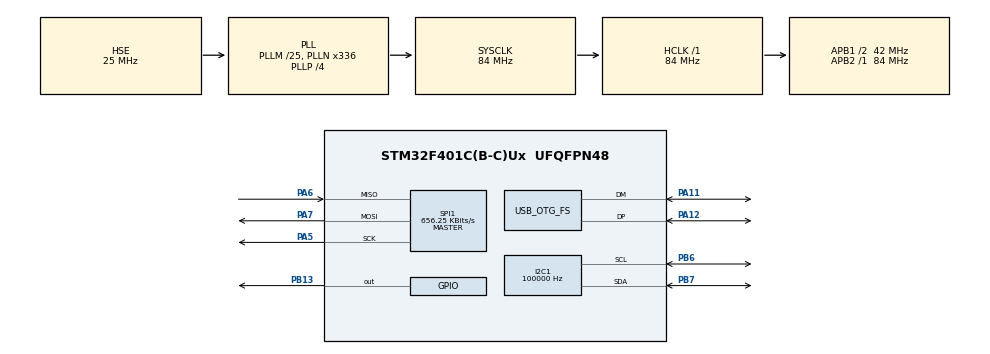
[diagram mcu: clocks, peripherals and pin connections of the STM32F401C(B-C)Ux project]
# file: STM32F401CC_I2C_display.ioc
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I2C1.ClockSpeed=100000
I2C1.I2C_Mode=I2C_Fast
Mcu.Family=STM32F4
Mcu.Name=STM32F401C(B-C)Ux
Mcu.Package=UFQFPN48
NVIC.OTG_FS_IRQn=true\:0\:0\:false\:false\:true\:false\:true\:true
NVIC.PriorityGroup=NVIC_PRIORITYGROUP_4
PA11.Mode=Device_Only
PA11.Signal=USB_OTG_FS_DM
PA12.Mode=Device_Only
PA12.Signal=USB_OTG_FS_DP
PA13.Mode=Serial_Wire
PA13.Signal=SYS_JTMS-SWDIO
PA14.Mode=Serial_Wire
PA14.Signal=SYS_JTCK-SWCLK
PA5.Mode=Full_Duplex_Master
PA5.Signal=SPI1_SCK
PA6.Mode=Full_Duplex_Master
PA6.Signal=SPI1_MISO
PA7.Mode=Full_Duplex_Master
PA7.Signal=SPI1_MOSI
PB13.PinState=GPIO_PIN_SET
PB13.Signal=GPIO_Output
PB6.Mode=I2C
PB6.Signal=I2C1_SCL
PB7.Mode=I2C
PB7.Signal=I2C1_SDA
PH0\ -\ OSC_IN.Mode=HSE-External-Oscillator
PH0\ -\ OSC_IN.Signal=RCC_OSC_IN
PH1\ -\ OSC_OUT.Mode=HSE-External-Oscillator
PH1\ -\ OSC_OUT.Signal=RCC_OSC_OUT
ProjectManager.HeapSize=0x200
ProjectManager.StackSize=0x400
ProjectManager.TargetToolchain=STM32CubeIDE
RCC.48MHZClocksFreq_Value=48000000
RCC.AHBFreq_Value=84000000
RCC.APB1CLKDivider=RCC_HCLK_DIV2
RCC.APB1Freq_Value=42000000
RCC.APB1TimFreq_Value=84000000
RCC.APB2Freq_Value=84000000
RCC.APB2TimFreq_Value=84000000
RCC.CortexFreq_Value=84000000
RCC.HCLKFreq_Value=84000000
RCC.HSE_VALUE=25000000
RCC.HSI_VALUE=16000000
RCC.LSE_VALUE=32768
RCC.PLLM=25
RCC.PLLN=336
RCC.PLLP=RCC_PLLP_DIV4
RCC.PLLQ=7
RCC.SYSCLKFreq_VALUE=84000000
RCC.SYSCLKSource=RCC_SYSCLKSOURCE_PLLCLK
RCC.VCOOutputFreq_Value=336000000
SPI1.BaudRatePrescaler=SPI_BAUDRATEPRESCALER_128
SPI1.CalculateBaudRate=656.25 KBits/s
SPI1.Direction=SPI_DIRECTION_2LINES
SPI1.Mode=SPI_MODE_MASTER
SPI1.VirtualType=VM_MASTER
USB_DEVICE.CLASS_NAME_FS=CDC
USB_DEVICE.VirtualMode=Cdc
USB_DEVICE.VirtualModeFS=Cdc_FS
USB_OTG_FS.VirtualMode=Device_Only
VP_USB_DEVICE_VS_USB_DEVICE_CDC_FS.Mode=CDC_FS
board=custom

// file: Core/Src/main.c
/* USER CODE BEGIN Header */
/**
  ******************************************************************************
  * @file           : main.c
  * @brief          : Main program body
  ******************************************************************************
  * @attention
  *
  * Copyright (c) 2026 STMicroelectronics.
  * All rights reserved.
  *
  * This software is licensed under terms that can be found in the LICENSE file
  * in the root directory of this software component.
  * If no LICENSE file comes with this software, it is provided AS-IS.
  *
  ******************************************************************************
  */
/* USER CODE END Header */
#include "main.h"
#include "usb_device.h"

/* USER CODE BEGIN Includes */
#include "fonts.h"
#include "ssd1306.h"
#include "ds1307.h"
#include <stdio.h>
#include <string.h>
#include "bme280.h"
#include "usbd_cdc_if.h"
/* USER CODE END Includes */

/* USER CODE BEGIN PTD */
typedef struct {
    DS1307_Time time;
    s32 temperature_centi_c;
    u32 pressure_pa;
    u32 humidity_q22_10;
    uint8_t rtc_valid;
    uint8_t bme_valid;
} DisplayData;

/* USER CODE END PTD */

/* USER CODE BEGIN PD */
#define RTC_POLL_MS 200U
#define BME_POLL_MS 500U
#define DISPLAY_ROWS 4U
#define DISPLAY_LINE_SIZE 24U
/* USER CODE END PD */

I2C_HandleTypeDef hi2c1;

SPI_HandleTypeDef hspi1;

void SystemClock_Config(void);
static void MX_GPIO_Init(void);
static void MX_I2C1_Init(void);
static void MX_SPI1_Init(void);
/* USER CODE BEGIN PFP */
/* Bus adapter and Bosch device instance live in bme280_support.c. */
extern struct bme280_t bme280;
extern USBD_HandleTypeDef hUsbDeviceFS;
s8 SPI_routine(void);
/* USER CODE END PFP */

/* USER CODE BEGIN 0 */
/* Keep these symbols for the unused Bosch demonstration template, too. */
uint8_t logData[200];
uint16_t logDataLen;

/* USB sends asynchronously: never hand it a stack buffer or overwrite it busy. */
uint8_t digital120_serial_send(const uint8_t *data, const uint16_t len)
{
    static uint8_t tx_buffer[sizeof logData];
    uint8_t sent = 0;
    if (data == NULL || len == 0 || len > sizeof tx_buffer) {
        return 0;
    }

    /* USB disconnect can invalidate pClassData; protect check + submission. */
    uint32_t interrupt_mask = __get_PRIMASK();
    __disable_irq();
    USBD_CDC_HandleTypeDef *cdc = hUsbDeviceFS.pClassData;
    if (hUsbDeviceFS.dev_state == USBD_STATE_CONFIGURED &&
        cdc != NULL && cdc->TxState == 0) {
        memcpy(tx_buffer, data, len);
        sent = (CDC_Transmit_FS(tx_buffer, len) == USBD_OK);
    }
    __set_PRIMASK(interrupt_mask);
    return sent;
}

static uint8_t BME280_Start(void)
{
    SPI_routine();
    if (bme280_init(&bme280) != 0 || bme280.chip_id != BME280_CHIP_ID ||
        bme280.cal_param.dig_P1 == 0) {
        return 0;
    }

    /* Configure in sleep; the final ctrl_meas write also latches humidity. */
    if (bme280_set_power_mode(BME280_SLEEP_MODE) != 0 ||
        bme280_set_oversamp_humidity(BME280_OVERSAMP_1X) != 0 ||
        bme280_set_oversamp_pressure(BME280_OVERSAMP_1X) != 0 ||
        bme280_set_oversamp_temperature(BME280_OVERSAMP_1X) != 0 ||
        bme280_set_standby_durn(BME280_STANDBY_TIME_250_MS) != 0 ||
        bme280_set_filter(BME280_FILTER_COEFF_OFF) != 0 ||
        bme280_set_power_mode(BME280_NORMAL_MODE) != 0) {
        return 0;
    }

    /* Check actual register contents rather than just SPI transfer success. */
    u8 ctrl_hum = 0, ctrl_meas = 0, config = 0;
    return bme280_read_register(BME280_CTRL_HUMIDITY_REG, &ctrl_hum, 1) == 0 &&
           bme280_read_register(BME280_CTRL_MEAS_REG, &ctrl_meas, 1) == 0 &&
           bme280_read_register(BME280_CONFIG_REG, &config, 1) == 0 &&
           (ctrl_hum & 0x07) == 0x01 && ctrl_meas == 0x27 &&
           (config & 0xFD) == 0x60;
}

static uint8_t BME280_Read(DisplayData *data)
{
    u8 chip_id = 0;
    u32 pressure, humidity;
    s32 temperature;

    /* An unplugged SPI slave may still produce HAL_OK, so check its identity. */
    if (bme280_read_register(BME280_CHIP_ID_REG, &chip_id, 1) != 0 ||
        chip_id != BME280_CHIP_ID ||
        bme280_read_pressure_temperature_humidity(
            &pressure, &temperature, &humidity) != 0) {
        return 0;
    }
    if (temperature < -4000 || temperature > 8500 ||
        pressure < 30000 || pressure > 110000 || humidity > 102400) {
        return 0;
    }
    data->temperature_centi_c = temperature;
    data->pressure_pa = pressure;
    data->humidity_q22_10 = humidity;
    return 1;
}

static void FormatDisplay(const DisplayData *data,
                          char lines[DISPLAY_ROWS][DISPLAY_LINE_SIZE])
{
    if (data->rtc_valid) {
        snprintf(lines[0], DISPLAY_LINE_SIZE, "%02u:%02u:%02u",
                 (unsigned)data->time.hours, (unsigned)data->time.minutes,
                 (unsigned)data->time.seconds);
    } else {
        snprintf(lines[0], DISPLAY_LINE_SIZE, "RTC: ERROR");
    }

    if (!data->bme_valid) {
        snprintf(lines[1], DISPLAY_LINE_SIZE, "T: -- C");
        snprintf(lines[2], DISPLAY_LINE_SIZE, "RH: -- %%RH");
        snprintf(lines[3], DISPLAY_LINE_SIZE, "P: -- hPa");
        return;
    }

    /* Integer formatting avoids needing newlib-nano's optional float printf. */
    s32 t = data->temperature_centi_c;
    s32 tenths = (t < 0 ? t - 5 : t + 5) / 10;
    u32 magnitude = (u32)(tenths < 0 ? -tenths : tenths);
    u32 rh_tenths = (data->humidity_q22_10 * 10U + 512U) / 1024U;
    u32 p_tenths = (data->pressure_pa + 5U) / 10U;
    snprintf(lines[1], DISPLAY_LINE_SIZE, "T: %s%lu.%lu C",
             tenths < 0 ? "-" : "", (unsigned long)(magnitude / 10U),
             (unsigned long)(magnitude % 10U));
    snprintf(lines[2], DISPLAY_LINE_SIZE, "RH: %lu.%lu %%RH",
             (unsigned long)(rh_tenths / 10U), (unsigned long)(rh_tenths % 10U));
    snprintf(lines[3], DISPLAY_LINE_SIZE, "P: %lu.%lu hPa",
             (unsigned long)(p_tenths / 10U), (unsigned long)(p_tenths % 10U));
}

static void PublishDisplay(const DisplayData *data, uint8_t oled_ready)
{
    char lines[DISPLAY_ROWS][DISPLAY_LINE_SIZE];
    static char previous[DISPLAY_ROWS][DISPLAY_LINE_SIZE];
    uint8_t changed = 0;
    FormatDisplay(data, lines);
    for (uint8_t row = 0; row < DISPLAY_ROWS; ++row) {
        if (strcmp(lines[row], previous[row]) != 0) {
            changed = 1;
        }
    }

    if (oled_ready && changed) {
        SSD1306_Fill(SSD1306_COLOR_BLACK);
        for (uint8_t row = 0; row < DISPLAY_ROWS; ++row) {
            SSD1306_GotoXY(0, row * 16U);
            SSD1306_Puts(lines[row], &Font_7x10, SSD1306_COLOR_WHITE);
            strcpy(previous[row], lines[row]);
        }
        /* Draw a degree mark in the space before C; the font is ASCII-only. */
        if (data->bme_valid) {
            SSD1306_DrawCircle((strlen(lines[1]) - 2U) * 7U + 3U,
                               18, 1, SSD1306_COLOR_WHITE);
        }
        SSD1306_UpdateScreen();
    }

    /* Latest snapshot wins while USB is disconnected/busy; never block on it. */
    int length = snprintf((char *)logData, sizeof logData,
                          "%s | %s | %s | %s | BME:%s OLED:%s\r\n",
                          lines[0], lines[1], lines[2], lines[3],
                          data->bme_valid ? "OK" : "NOT READY",
                          oled_ready ? "OK" : "ERROR");
    logDataLen = length > 0 && length < (int)sizeof logData ? (uint16_t)length : 0;
}
/* USER CODE END 0 */

int main(void)
{

  /* MCU Configuration--------------------------------------------------------*/

  /* Reset of all peripherals, Initializes the Flash interface and the Systick. */
  HAL_Init();

  /* Configure the system clock */
  SystemClock_Config();

  /* Initialize all configured peripherals */
  MX_GPIO_Init();
  MX_I2C1_Init();
  MX_USB_DEVICE_Init();
  MX_SPI1_Init();
  /* USER CODE BEGIN 2 */
  DisplayData data = {0};
  uint8_t oled_ready = SSD1306_Init();
  uint8_t bme_ready = BME280_Start();
  /* Preserve the battery-backed RTC; setting a test time on every boot loses it. */
  DS1307_Time initTime = {
      .hours = 23,
      .minutes = 59,
      .seconds = 50
  };
  DS1307_SetTime(&hi2c1, &initTime);
  data.rtc_valid = (DS1307_ReadTime(&hi2c1, &data.time) == HAL_OK);
  uint32_t last_rtc_poll = HAL_GetTick();
  uint32_t last_bme_poll = last_rtc_poll;
  PublishDisplay(&data, oled_ready);
  /* USER CODE END 2 */

  /* Infinite loop */
  /* USER CODE BEGIN WHILE */
  while (1)
  {
    uint32_t now = HAL_GetTick();
    uint8_t publish = 0;

    if ((uint32_t)(now - last_rtc_poll) >= RTC_POLL_MS) {
        uint8_t was_valid = data.rtc_valid;
        DS1307_Time previous_time = data.time;
        last_rtc_poll = now;
        data.rtc_valid = (DS1307_ReadTime(&hi2c1, &data.time) == HAL_OK);
        publish = data.rtc_valid != was_valid ||
                  (data.rtc_valid && (data.time.seconds != previous_time.seconds ||
                   data.time.minutes != previous_time.minutes ||
                   data.time.hours != previous_time.hours));
    }

    if ((uint32_t)(now - last_bme_poll) >= BME_POLL_MS) {
        last_bme_poll = now;
        /* Normal mode converts autonomously; no conversion delay in this loop. */
        data.bme_valid = bme_ready && BME280_Read(&data);
        publish = 1;
    }

    if (publish) {
        PublishDisplay(&data, oled_ready);
    }
    if (logDataLen != 0 && digital120_serial_send(logData, logDataLen)) {
        logDataLen = 0;
    }
    /* USER CODE END WHILE */

  }
}

void SystemClock_Config(void)
{
  RCC_OscInitTypeDef RCC_OscInitStruct = {0};
  RCC_ClkInitTypeDef RCC_ClkInitStruct = {0};

  /** Configure the main internal regulator output voltage
  */
  __HAL_RCC_PWR_CLK_ENABLE();
  __HAL_PWR_VOLTAGESCALING_CONFIG(PWR_REGULATOR_VOLTAGE_SCALE2);

  /** Initializes the RCC Oscillators according to the specified parameters
  * in the RCC_OscInitTypeDef structure.
  */
  RCC_OscInitStruct.OscillatorType = RCC_OSCILLATORTYPE_HSE;
  RCC_OscInitStruct.HSEState = RCC_HSE_ON;
  RCC_OscInitStruct.PLL.PLLState = RCC_PLL_ON;
  RCC_OscInitStruct.PLL.PLLSource = RCC_PLLSOURCE_HSE;
  RCC_OscInitStruct.PLL.PLLM = 25;
  RCC_OscInitStruct.PLL.PLLN = 336;
  RCC_OscInitStruct.PLL.PLLP = RCC_PLLP_DIV4;
  RCC_OscInitStruct.PLL.PLLQ = 7;
  if (HAL_RCC_OscConfig(&RCC_OscInitStruct) != HAL_OK)
  {
    Error_Handler();
  }

  /** Initializes the CPU, AHB and APB buses clocks
  */
  RCC_ClkInitStruct.ClockType = RCC_CLOCKTYPE_HCLK|RCC_CLOCKTYPE_SYSCLK
                              |RCC_CLOCKTYPE_PCLK1|RCC_CLOCKTYPE_PCLK2;
  RCC_ClkInitStruct.SYSCLKSource = RCC_SYSCLKSOURCE_PLLCLK;
  RCC_ClkInitStruct.AHBCLKDivider = RCC_SYSCLK_DIV1;
  RCC_ClkInitStruct.APB1CLKDivider = RCC_HCLK_DIV2;
  RCC_ClkInitStruct.APB2CLKDivider = RCC_HCLK_DIV1;

  if (HAL_RCC_ClockConfig(&RCC_ClkInitStruct, FLASH_LATENCY_2) != HAL_OK)
  {
    Error_Handler();
  }
}

static void MX_I2C1_Init(void)
{

  hi2c1.Instance = I2C1;
  hi2c1.Init.ClockSpeed = 100000;
  hi2c1.Init.DutyCycle = I2C_DUTYCYCLE_2;
  hi2c1.Init.OwnAddress1 = 0;
  hi2c1.Init.AddressingMode = I2C_ADDRESSINGMODE_7BIT;
  hi2c1.Init.DualAddressMode = I2C_DUALADDRESS_DISABLE;
  hi2c1.Init.OwnAddress2 = 0;
  hi2c1.Init.GeneralCallMode = I2C_GENERALCALL_DISABLE;
  hi2c1.Init.NoStretchMode = I2C_NOSTRETCH_DISABLE;
  if (HAL_I2C_Init(&hi2c1) != HAL_OK)
  {
    Error_Handler();
  }

}

static void MX_SPI1_Init(void)
{

  /* SPI1 parameter configuration*/
  hspi1.Instance = SPI1;
  hspi1.Init.Mode = SPI_MODE_MASTER;
  hspi1.Init.Direction = SPI_DIRECTION_2LINES;
  hspi1.Init.DataSize = SPI_DATASIZE_8BIT;
  hspi1.Init.CLKPolarity = SPI_POLARITY_LOW;
  hspi1.Init.CLKPhase = SPI_PHASE_1EDGE;
  hspi1.Init.NSS = SPI_NSS_SOFT;
  hspi1.Init.BaudRatePrescaler = SPI_BAUDRATEPRESCALER_128;
  hspi1.Init.FirstBit = SPI_FIRSTBIT_MSB;
  hspi1.Init.TIMode = SPI_TIMODE_DISABLE;
  hspi1.Init.CRCCalculation = SPI_CRCCALCULATION_DISABLE;
  hspi1.Init.CRCPolynomial = 10;
  if (HAL_SPI_Init(&hspi1) != HAL_OK)
  {
    Error_Handler();
  }

}

static void MX_GPIO_Init(void)
{
  GPIO_InitTypeDef GPIO_InitStruct = {0};

  /* GPIO Ports Clock Enable */
  __HAL_RCC_GPIOH_CLK_ENABLE();
  __HAL_RCC_GPIOA_CLK_ENABLE();
  __HAL_RCC_GPIOB_CLK_ENABLE();

  /*Configure GPIO pin Output Level */
  HAL_GPIO_WritePin(GPIOB, GPIO_PIN_13, GPIO_PIN_SET);

  /*Configure GPIO pin : PB13 */
  GPIO_InitStruct.Pin = GPIO_PIN_13;
  GPIO_InitStruct.Mode = GPIO_MODE_OUTPUT_PP;
  GPIO_InitStruct.Pull = GPIO_NOPULL;
  GPIO_InitStruct.Speed = GPIO_SPEED_FREQ_LOW;
  HAL_GPIO_Init(GPIOB, &GPIO_InitStruct);

}

void Error_Handler(void)
{
  __disable_irq();
  while (1)
  {
  }
}
